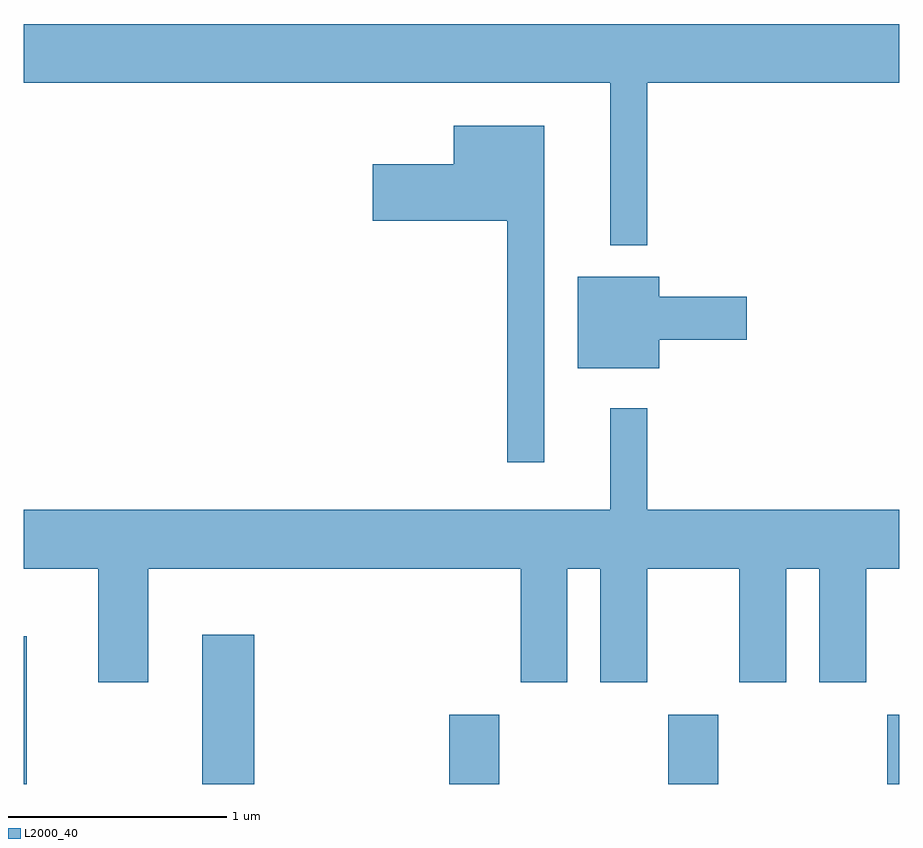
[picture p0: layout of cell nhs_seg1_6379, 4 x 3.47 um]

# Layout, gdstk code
import gdstk
lib = gdstk.Library(unit=1e-6, precision=1e-09)
def R(c, l, rs):  # rectangles x0, y0, x1, y1
    for r in rs: c.add(gdstk.rectangle(r[:2], r[2:], *l))
def P(c, l, *ps):  # polygons
    for p in ps: c.add(gdstk.Polygon(p, *l))
L2000_40 = (2000, 40)

nhs_seg1_6379 = lib.new_cell('nhs_seg1_6379')
R(nhs_seg1_6379, L2000_40, [(377.611,889.712,377.624,890.388), (378.426,889.712,378.664,890.394), (379.556,889.712,379.784,890.029), (380.556,889.712,380.784,890.029), (381.556,889.712,381.611,890.029)])
P(nhs_seg1_6379, L2000_40, [(380.459,892.916),(381.611,892.916),(381.611,893.184),(377.611,893.184),(377.611,892.916),(380.291,892.916),(380.291,892.173),(380.459,892.173)],
  [(379.989,892.719),(379.576,892.719),(379.576,892.544),(379.206,892.544),(379.206,892.286),(379.821,892.286),(379.821,891.183),(379.989,891.183)],
  [(380.514,891.741),(380.914,891.741),(380.914,891.939),(380.514,891.939),(380.514,892.029),(380.141,892.029),(380.141,891.611),(380.514,891.611)],
  [(378.179,890.696),(379.881,890.696),(379.881,890.176),(380.094,890.176),(380.094,890.696),(380.246,890.696),(380.246,890.176),(380.459,890.176),(380.459,890.696),(380.881,890.696),(380.881,890.176),(381.094,890.176),(381.094,890.696),(381.246,890.696),(381.246,890.176),(381.459,890.176),(381.459,890.696),(381.611,890.696),(381.611,890.964),(380.459,890.964),(380.459,891.428),(380.291,891.428),(380.291,890.964),(377.611,890.964),(377.611,890.696),(377.951,890.696),(377.951,890.176),(378.179,890.176)])

lib.write_gds('nhs_seg1_6379.gds')
